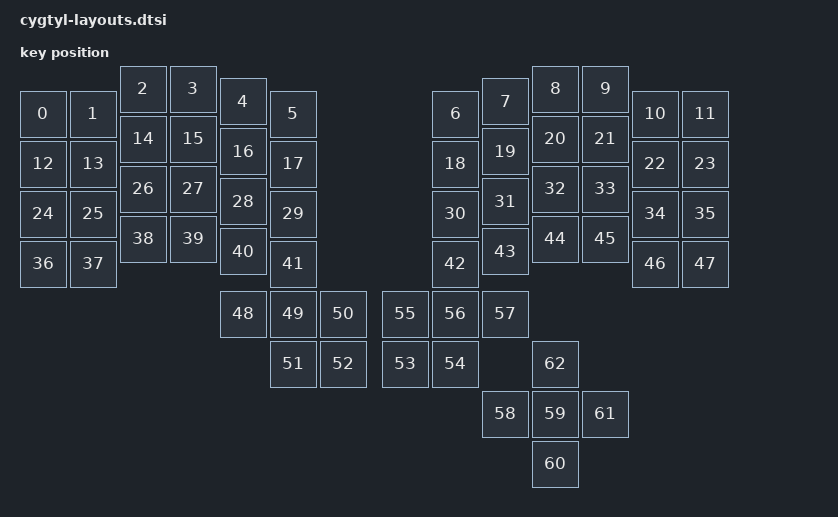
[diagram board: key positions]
#include <physical_layouts.dtsi>

/ {
    cygtyl_layout0: cygtyl_layout_0 {
        compatible = "zmk,physical-layout";
        display-name = "LAYOUT";

        kscan = <&kscan0>;
        transform = <&matrix_transform0>;

        keys  //                     w   h    x    y     rot    rx    ry
            = <&key_physical_attrs 100 100    0   50       0     0     0>
            , <&key_physical_attrs 100 100  100   50       0     0     0>
            , <&key_physical_attrs 100 100  200    0       0     0     0>
            , <&key_physical_attrs 100 100  300    0       0     0     0>
            , <&key_physical_attrs 100 100  400   25       0     0     0>
            , <&key_physical_attrs 100 100  500   50       0     0     0>
            , <&key_physical_attrs 100 100  825   50       0     0     0>
            , <&key_physical_attrs 100 100  925   25       0     0     0>
            , <&key_physical_attrs 100 100 1025    0       0     0     0>
            , <&key_physical_attrs 100 100 1125    0       0     0     0>
            , <&key_physical_attrs 100 100 1225   50       0     0     0>
            , <&key_physical_attrs 100 100 1325   50       0     0     0>
            , <&key_physical_attrs 100 100    0  150       0     0     0>
            , <&key_physical_attrs 100 100  100  150       0     0     0>
            , <&key_physical_attrs 100 100  200  100       0     0     0>
            , <&key_physical_attrs 100 100  300  100       0     0     0>
            , <&key_physical_attrs 100 100  400  125       0     0     0>
            , <&key_physical_attrs 100 100  500  150       0     0     0>
            , <&key_physical_attrs 100 100  825  150       0     0     0>
            , <&key_physical_attrs 100 100  925  125       0     0     0>
            , <&key_physical_attrs 100 100 1025  100       0     0     0>
            , <&key_physical_attrs 100 100 1125  100       0     0     0>
            , <&key_physical_attrs 100 100 1225  150       0     0     0>
            , <&key_physical_attrs 100 100 1325  150       0     0     0>
            , <&key_physical_attrs 100 100    0  250       0     0     0>
            , <&key_physical_attrs 100 100  100  250       0     0     0>
            , <&key_physical_attrs 100 100  200  200       0     0     0>
            , <&key_physical_attrs 100 100  300  200       0     0     0>
            , <&key_physical_attrs 100 100  400  225       0     0     0>
            , <&key_physical_attrs 100 100  500  250       0     0     0>
            , <&key_physical_attrs 100 100  825  250       0     0     0>
            , <&key_physical_attrs 100 100  925  225       0     0     0>
            , <&key_physical_attrs 100 100 1025  200       0     0     0>
            , <&key_physical_attrs 100 100 1125  200       0     0     0>
            , <&key_physical_attrs 100 100 1225  250       0     0     0>
            , <&key_physical_attrs 100 100 1325  250       0     0     0>
            , <&key_physical_attrs 100 100    0  350       0     0     0>
            , <&key_physical_attrs 100 100  100  350       0     0     0>
            , <&key_physical_attrs 100 100  200  300       0     0     0>
            , <&key_physical_attrs 100 100  300  300       0     0     0>
            , <&key_physical_attrs 100 100  400  325       0     0     0>
            , <&key_physical_attrs 100 100  500  350       0     0     0>
            , <&key_physical_attrs 100 100  825  350       0     0     0>
            , <&key_physical_attrs 100 100  925  325       0     0     0>
            , <&key_physical_attrs 100 100 1025  300       0     0     0>
            , <&key_physical_attrs 100 100 1125  300       0     0     0>
            , <&key_physical_attrs 100 100 1225  350       0     0     0>
            , <&key_physical_attrs 100 100 1325  350       0     0     0>
            , <&key_physical_attrs 100 100  400  450       0     0     0>
            , <&key_physical_attrs 100 100  500  450       0     0     0>
            , <&key_physical_attrs 100 100  600  450       0     0     0>
            , <&key_physical_attrs 100 100  500  550       0     0     0>
            , <&key_physical_attrs 100 100  600  550       0     0     0>
            , <&key_physical_attrs 100 100  725  550       0     0     0>
            , <&key_physical_attrs 100 100  825  550       0     0     0>
            , <&key_physical_attrs 100 100  725  450       0     0     0>
            , <&key_physical_attrs 100 100  825  450       0     0     0>
            , <&key_physical_attrs 100 100  925  450       0     0     0>
            , <&key_physical_attrs 100 100  925  650       0     0     0>
            , <&key_physical_attrs 100 100 1025  650       0     0     0>
            , <&key_physical_attrs 100 100 1025  750       0     0     0>
            , <&key_physical_attrs 100 100 1125  650       0     0     0>
            , <&key_physical_attrs 100 100 1025  550       0     0     0>
            ;
    };
};
